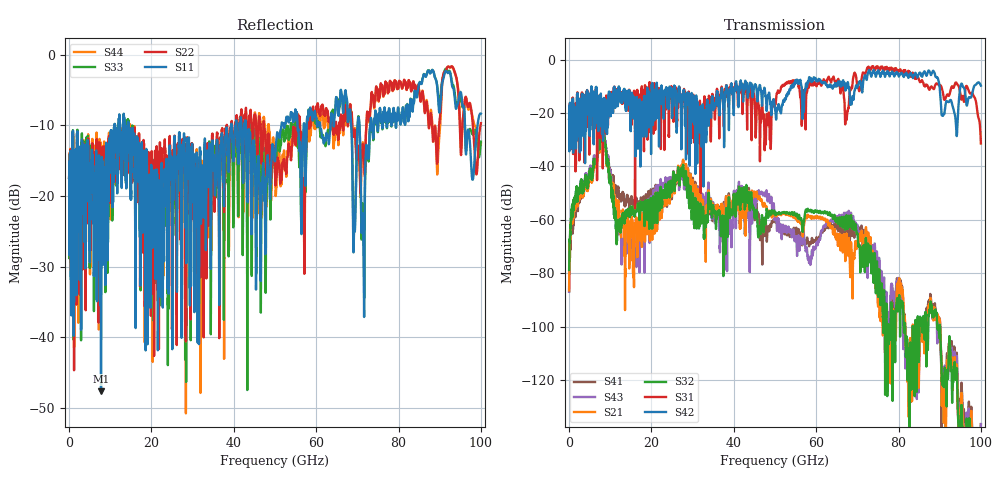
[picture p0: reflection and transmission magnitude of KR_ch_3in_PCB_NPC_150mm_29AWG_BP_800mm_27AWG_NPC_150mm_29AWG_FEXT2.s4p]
# GHz S RI R 45
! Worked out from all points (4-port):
!   4000 points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, 25 MHz to 100 GHz, reference 45 ohm
!   strongest paths, dB at 25 MHz, 25.02 GHz, 50.02 GHz, 75.03 GHz, 100 GHz:
!     S42: -22.2, -20.8, -18.7, -4.1, -9.8
!     S31: -22.2, -15.9, -16.7, -3.0, -31.4
!     S32: -78.8, -47.4, -57.9, -88.7, -142.5
!     S21: -86.4, -48.6, -58.4, -92.5, -144.9
!     S43: -87.0, -45.7, -59.0, -81.5, -136.6
!     S41: -86.8, -50.0, -60.6, -83.7, -136.5
!   lowest |S11| = -47.6 dB at 7.775 GHz (marker M1), VSWR 1.01, Z = 44.8 + j0.296 ohm
!   |S11| at or under -10 dB: start of sweep to 11 GHz; 14.43 GHz to 39.36 GHz (24.93 GHz wide, 92.7 % of centre); 42.94 GHz to 51.57 GHz (8.631 GHz wide, 18.3 % of centre)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
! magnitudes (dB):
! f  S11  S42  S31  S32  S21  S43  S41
! 25 MHz  -17.4  -22.2  -22.2  -78.8  -86.4  -87.0  -86.8
! 7.775 GHz  -47.6  -16.5  -18.5  -28.4  -29.9  -27.4  -28.7
! 13.2 GHz  -9.1  -11.8  -13.2  -58.3  -57.1  -68.9  -50.7
! 27.38 GHz  -21.3  -17.1  -23.9  -41.6  -40.6  -43.1  -40.8
! 47.85 GHz  -18.3  -14.9  -25.1  -58.7  -55.1  -49.7  -61.8
! 77.1 GHz  -9.6  -5.3  -2.7  -94.9  -108.8  -89.8  -95.3
! 100 GHz  -8.3  -9.8  -31.4  -142.5  -144.9  -136.6  -136.5
